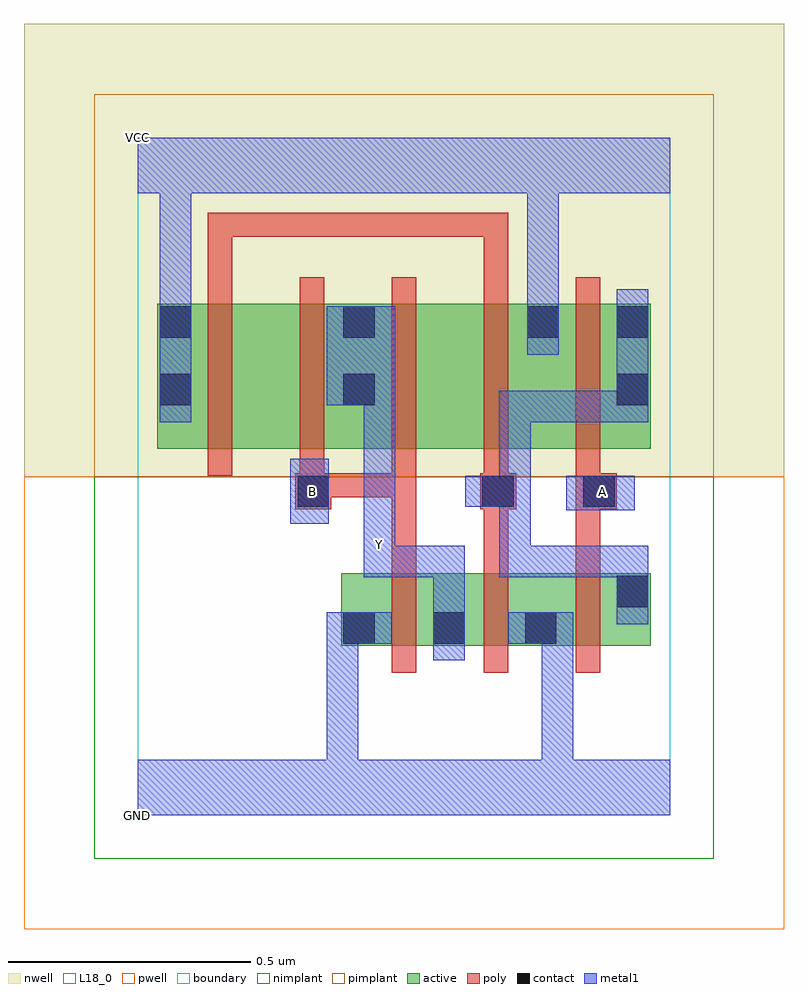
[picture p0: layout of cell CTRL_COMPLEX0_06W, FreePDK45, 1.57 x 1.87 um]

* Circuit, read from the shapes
.subckt CTRL_COMPLEX0_06W A B GND VCC Y
M1 Y B GND VSUBS nfet w=0.15u l=0.05u
M2 GND n1 Y VSUBS nfet w=0.15u l=0.05u
M3 n1 A GND VSUBS nfet w=0.15u l=0.05u
M4 n2 n1 VCC n3 pfet w=0.3u l=0.05u
M5 Y B n2 n3 pfet w=0.3u l=0.05u
M6 n4 B Y n3 pfet w=0.3u l=0.05u
M7 VCC n1 n4 n3 pfet w=0.3u l=0.05u
M8 n1 A VCC n3 pfet w=0.3u l=0.05u
.ends

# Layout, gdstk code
import gdstk
lib = gdstk.Library(unit=1e-6, precision=1e-09)
def R(c, l, rs):  # rectangles x0, y0, x1, y1
    for r in rs: c.add(gdstk.rectangle(r[:2], r[2:], *l))
def A(c, l, x, y, w, h, nx, ny, dx, dy):  # array of equal rectangles
    R(c, l, [(x+i*dx, y+j*dy, x+i*dx+w, y+j*dy+h) for i in range(nx) for j in range(ny)])
active = (1, 0)
pwell = (2, 0)
nwell = (3, 0)
nimplant = (4, 0)
pimplant = (5, 0)
poly = (9, 0)
contact = (10, 0)
metal1 = (11, 0)
L18_0 = (18, 0)
boundary = (235, 0)

ctrl_complex0_06w = lib.new_cell('CTRL_COMPLEX0_06W')
A(ctrl_complex0_06w, active, 0.04, 0.757, 0.075, 0.3, 3, 1, 0.38, 0)
R(ctrl_complex0_06w, active, [(0.42,0.35,0.495,0.5), (0.42,0.35,0.68,0.5), (0.605,0.35,0.87,0.5), (0.605,0.35,0.68,0.425), (0.795,0.35,1.06,0.5), (0.795,0.35,0.87,0.425), (0.985,0.35,1.06,0.5), (0.04,0.757,0.265,1.057), (0.265,0.757,0.495,1.057), (0.42,0.757,0.645,1.057), (0.645,0.757,0.875,1.057), (0.8,0.757,1.06,1.057), (0.985,0.757,1.06,1.057)])
R(ctrl_complex0_06w, pwell, [(-0.235,-0.235,1.335,0.7)])
R(ctrl_complex0_06w, nwell, [(-0.235,0.7,1.335,1.635)])
R(ctrl_complex0_06w, nimplant, [(-0.09,-0.09,1.19,0.7)])
R(ctrl_complex0_06w, pimplant, [(-0.09,0.7,1.19,1.49)])
A(ctrl_complex0_06w, poly, 0.525, 0.295, 0.05, 0.26, 3, 1, 0.19, 0)
A(ctrl_complex0_06w, poly, 0.335, 0.657, 0.05, 0.095, 4, 1, 0.19, 0)
A(ctrl_complex0_06w, poly, 0.145, 0.702, 0.05, 0.41, 5, 1, 0.19, 0)
R(ctrl_complex0_06w, poly, [(0.525,0.505,0.575,0.707), (0.715,0.505,0.765,0.682), (0.905,0.505,0.955,0.682), (0.325,0.632,0.4,0.707), (0.707,0.632,0.782,0.707), (0.905,0.632,0.99,0.707), (0.35,0.657,0.51,0.707), (0.46,0.657,0.51,0.707), (0.46,0.657,0.575,0.707), (0.525,0.657,0.575,0.707), (0.145,1.062,0.195,1.245), (0.715,1.062,0.765,1.245), (0.145,1.195,0.195,1.245), (0.145,1.195,0.377,1.245), (0.327,1.195,0.377,1.245), (0.327,1.195,0.442,1.245), (0.392,1.195,0.442,1.245), (0.392,1.195,0.575,1.245), (0.525,1.195,0.575,1.245), (0.525,1.195,0.575,1.245), (0.525,1.195,0.575,1.245), (0.525,1.195,0.765,1.245), (0.715,1.195,0.765,1.245), (0.715,1.195,0.765,1.245), (0.715,1.195,0.765,1.245)])
A(ctrl_complex0_06w, contact, 0.045, 0.987, 0.065, 0.065, 3, 1, 0.38, 0)
R(ctrl_complex0_06w, contact, [(0.425,0.355,0.49,0.42), (0.61,0.355,0.675,0.42), (0.8,0.355,0.865,0.42), (0.99,0.43,1.055,0.495), (0.33,0.637,0.395,0.702), (0.712,0.637,0.777,0.702), (0.92,0.637,0.985,0.702), (0.045,0.847,0.11,0.912), (0.425,0.847,0.49,0.912), (0.99,0.847,1.055,0.912), (0.99,0.987,1.055,1.052)])
R(ctrl_complex0_06w, metal1, [(0,0,1.1,0.115), (0.39,0.05,0.455,0.397), (0.835,0.05,0.9,0.382), (0.835,0.317,0.9,0.382), (0.835,0.317,0.9,0.42), (0.61,0.32,0.675,0.557), (0.39,0.332,0.455,0.397), (0.39,0.332,0.455,0.42), (0.39,0.355,0.455,0.42), (0.39,0.355,0.455,0.42), (0.39,0.355,0.455,0.42), (0.39,0.355,0.455,0.42), (0.39,0.355,0.525,0.42), (0.765,0.355,0.9,0.42), (0.835,0.355,0.9,0.42), (0.835,0.355,0.9,0.42), (0.835,0.355,0.9,0.42), (0.835,0.355,0.9,0.42), (0.99,0.395,1.055,0.53), (0.99,0.465,1.055,0.53), (0.99,0.465,1.055,0.557), (0.467,0.492,0.532,0.557), (0.467,0.492,0.532,0.557), (0.467,0.492,0.532,0.557), (0.467,0.492,0.532,0.557), (0.467,0.492,0.532,0.627), (0.467,0.492,0.675,0.557), (0.747,0.492,0.812,0.557), (0.747,0.492,1.055,0.557), (0.747,0.492,0.812,0.702), (0.467,0.562,0.532,0.912), (0.315,0.602,0.395,0.737), (0.885,0.63,1.027,0.702), (0.677,0.637,0.812,0.702), (0.747,0.637,0.812,0.702), (0.747,0.637,0.812,0.702), (0.747,0.637,0.812,0.877), (0.045,0.812,0.11,1.087), (0.747,0.812,0.812,0.877), (0.747,0.812,1.055,0.877), (0.99,0.812,1.055,0.877), (0.99,0.812,1.055,0.877), (0.99,0.812,1.055,1.087), (0.39,0.847,0.532,1.052), (0.805,0.952,0.87,1.087), (0.045,1.022,0.11,1.087), (0.045,1.022,0.11,1.087), (0.045,1.022,0.11,1.35), (0.805,1.022,0.87,1.35), (0,1.285,1.1,1.4), (0.805,1.285,0.87,1.35), (0.805,1.285,0.87,1.35)])
R(ctrl_complex0_06w, L18_0, [(0,0,1.1,0.115), (0.39,0.05,0.455,0.397), (0.835,0.05,0.9,0.382), (0.835,0.317,0.9,0.382), (0.835,0.317,0.9,0.42), (0.61,0.32,0.675,0.557), (0.39,0.332,0.455,0.397), (0.39,0.332,0.455,0.42), (0.39,0.355,0.455,0.42), (0.39,0.355,0.455,0.42), (0.39,0.355,0.455,0.42), (0.39,0.355,0.455,0.42), (0.39,0.355,0.525,0.42), (0.765,0.355,0.9,0.42), (0.835,0.355,0.9,0.42), (0.835,0.355,0.9,0.42), (0.835,0.355,0.9,0.42), (0.835,0.355,0.9,0.42), (0.467,0.492,0.532,0.557), (0.467,0.492,0.532,0.557), (0.467,0.492,0.532,0.557), (0.467,0.492,0.532,0.557), (0.467,0.492,0.532,0.627), (0.467,0.492,0.675,0.557), (0.467,0.527,0.532,0.592), (0.467,0.562,0.532,0.912), (0.315,0.602,0.395,0.737), (0.885,0.63,1.027,0.702), (0.327,0.637,0.392,0.702), (0.927,0.637,0.992,0.702), (0.045,0.812,0.11,1.087), (0.39,0.847,0.532,1.052), (0.805,0.952,0.87,1.087), (0.045,1.022,0.11,1.087), (0.045,1.022,0.11,1.087), (0.045,1.022,0.11,1.35), (0.805,1.022,0.87,1.35), (0,1.285,1.1,1.4), (0.805,1.285,0.87,1.35), (0.805,1.285,0.87,1.35)])
R(ctrl_complex0_06w, boundary, [(0,0,1.1,1.4)])
ctrl_complex0_06w.add(gdstk.Label('A', (0.96,0.67), layer=11, texttype=0))
ctrl_complex0_06w.add(gdstk.Label('B', (0.36,0.67), layer=11, texttype=0))
ctrl_complex0_06w.add(gdstk.Label('Y', (0.5,0.56), layer=11, texttype=0))
ctrl_complex0_06w.add(gdstk.Label('VCC', (0,1.4), layer=11, texttype=0))
ctrl_complex0_06w.add(gdstk.Label('GND', (0,0), layer=11, texttype=0))

lib.write_gds('CTRL_COMPLEX0_06W.gds')
